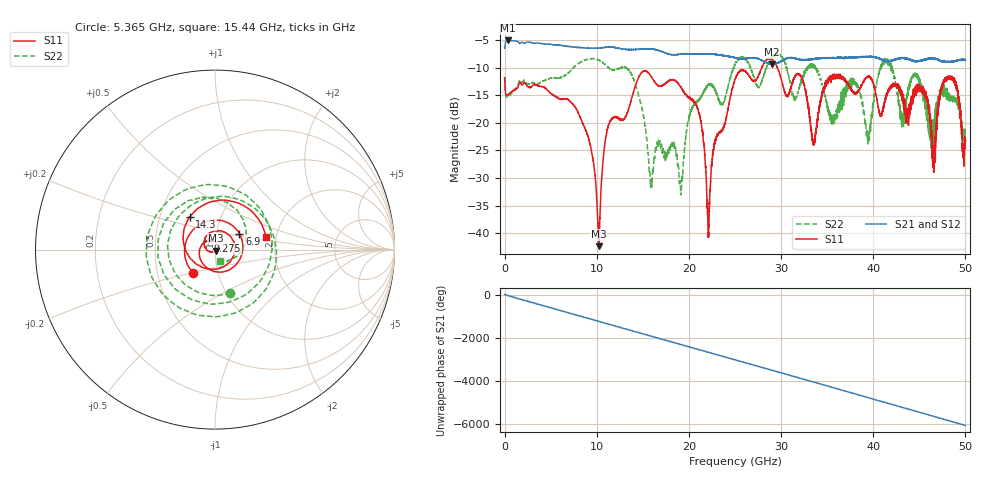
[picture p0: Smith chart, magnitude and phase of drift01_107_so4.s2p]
!Created with skrf (http://scikit-rf.org).
# Hz S RI R 50.0
!freq ReS11 ImS11 ReS21 ImS21 ReS12 ImS12 ReS22 ImS22
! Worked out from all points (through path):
!   10001 points, 300 kHz to 50 GHz, reference 50 ohm
!   highest |S21| = -5.05 dB at 325.3 MHz (marker M1); lowest = -9.4 dB at 28.98 GHz (marker M2)
!   group delay of S21, straight-line fit = 336 ps
!   lowest |S11| = -42.4 dB at 10.22 GHz (marker M3), VSWR 1.02, Z = 50.6 - j0.525 ohm
!   |S11| at or under -10 dB: start of sweep to 27.91 GHz; 29.6 GHz to end of sweep
!   |S22| runs from -33.1 to -7.5 dB; largest |S21 - S12| = 0.014
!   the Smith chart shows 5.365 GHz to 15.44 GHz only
!   S11 on the Smith chart (normalised r, x): 5.365 GHz: 0.76, -0.20; 6.9 GHz: 1.29, +0.23; 9.275 GHz: 0.92, +0.09; 14.3 GHz: 0.71, +0.27; 15.44 GHz: 1.77, +0.26
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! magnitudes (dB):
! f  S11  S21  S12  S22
! 300 kHz  -11.8  -6.4  -6.5  -11.7
! 325.3 MHz  -15.0  -5.1  -5.1  -15.3
! 5.365 GHz  -15.0  -5.8  -5.9  -11.8
! 6.9 GHz  -15.8  -6.1  -6.1  -11.0
! 8.335 GHz  -19.5  -6.3  -6.4  -8.9
! 9.275 GHz  -23.9  -6.4  -6.4  -8.3
! 10.22 GHz  -42.4  -6.4  -6.4  -8.6
! 11.23 GHz  -20.7  -6.3  -6.2  -9.9
! 14.3 GHz  -12.8  -6.7  -6.7  -13.5
! 15.44 GHz  -10.7  -6.6  -6.6  -22.9
! 16.67 GHz  -13.3  -6.9  -6.8  -23.3
! 19.13 GHz  -13.5  -7.5  -7.5  -33.0
! 20.85 GHz  -16.9  -7.6  -7.5  -16.1
! 22.13 GHz  -39.8  -7.5  -7.5  -13.3
! 25 GHz  -12.1  -8.2  -8.3  -9.6
! 28.98 GHz  -8.4  -9.4  -9.4  -8.2
! 33.34 GHz  -22.7  -8.5  -8.4  -9.6
! 39.47 GHz  -11.6  -8.0  -8.0  -22.2
! 41.67 GHz  -13.9  -8.7  -8.7  -9.1
! 46.55 GHz  -26.5  -8.3  -8.2  -20.4
! 48.56 GHz  -11.9  -8.9  -8.9  -15.5
! 50 GHz  -23.3  -8.7  -8.6  -23.5
